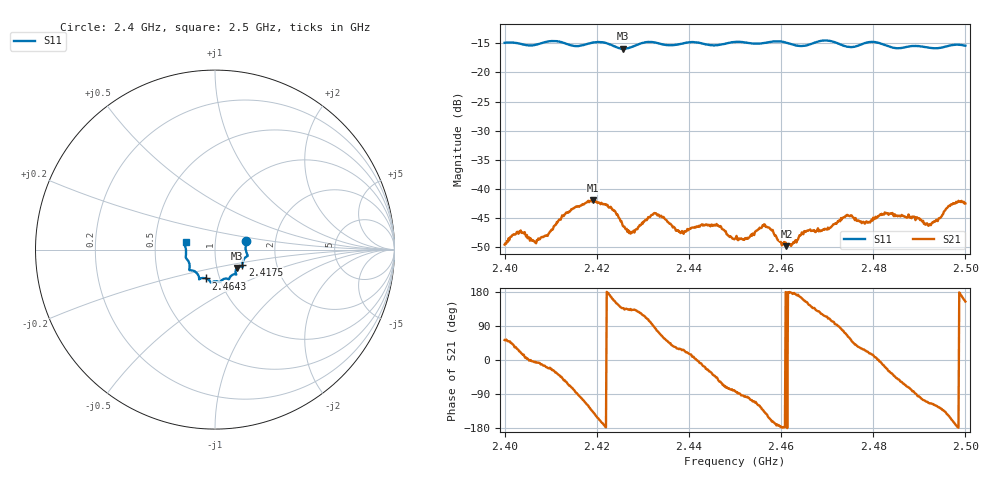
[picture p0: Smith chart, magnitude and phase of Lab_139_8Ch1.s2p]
# Hz S RI R 50
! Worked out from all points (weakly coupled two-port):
!   601 points, 2.4 GHz to 2.5 GHz, reference 50 ohm
!   highest |S21| = -41.96 dB at 2.4192 GHz (marker M1); lowest = -49.8 dB at 2.4612 GHz (marker M2)
!   lowest |S11| = -15.9 dB at 2.4257 GHz (marker M3), VSWR 1.38, Z = 62.5 - j13.1 ohm
!   |S11| at or under -10 dB: start of sweep to end of sweep
!   S12 and S22 are empty: the file has one direction only
!   S11 on the Smith chart (normalised r, x): 2.4 GHz: 1.41, +0.14; 2.4175 GHz: 1.34, -0.23; 2.4643 GHz: 0.86, -0.29; 2.5 GHz: 0.72, +0.06
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2.4e9  0.1728 0.0488  0.00202 0.00265  0 0  0 0
2.403167e9  0.1741 0.0329  0.00396 0.00168  0 0  0 0
2.407167e9  0.1739 -0.0119  0.00363 -0.000424  0 0  0 0
2.416667e9  0.1532 -0.0741  -0.00134 -0.0071  0 0  0 0
2.4175e9  0.1522 -0.0835  -0.00286 -0.007  0 0  0 0
2.419167e9  0.1532 -0.0958  -0.00581 -0.00548  0 0  0 0
2.4235e9  0.1412 -0.0942  -0.00628 0.00217  0 0  0 0
2.425667e9  0.1227 -0.1019  -0.00351 0.00329  0 0  0 0
2.427667e9  0.1146 -0.1199  -0.00284 0.00312  0 0  0 0
2.433333e9  0.1133 -0.1372  0.00164 0.00581  0 0  0 0
2.438333e9  0.0813 -0.1559  0.00376 0.00199  0 0  0 0
2.445833e9  0.0489 -0.1639  0.00342 -0.00349  0 0  0 0
2.45e9  0.0289 -0.1808  0.000473 -0.00371  0 0  0 0
2.4565e9  -0.01 -0.1791  -0.00369 -0.00327  0 0  0 0
2.461167e9  -0.0271 -0.1779  -0.00323 8.97e-05  0 0  0 0
2.464333e9  -0.05 -0.1609  -0.0039 0.00105  0 0  0 0
2.466667e9  -0.076 -0.1593  -0.00336 0.00281  0 0  0 0
2.474167e9  -0.0985 -0.1347  0.00228 0.00541  0 0  0 0
2.4785e9  -0.1386 -0.1151  0.00485 0.00206  0 0  0 0
2.483333e9  -0.1412 -0.0901  0.00523 -0.00295  0 0  0 0
2.492167e9  -0.1614 -0.0236  -0.00201 -0.00455  0 0  0 0
2.5e9  -0.1642 0.0429  -0.00677 0.00327  0 0  0 0
